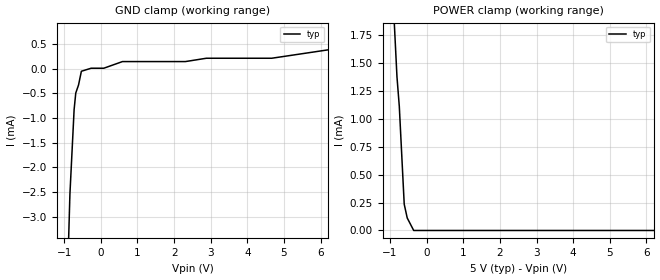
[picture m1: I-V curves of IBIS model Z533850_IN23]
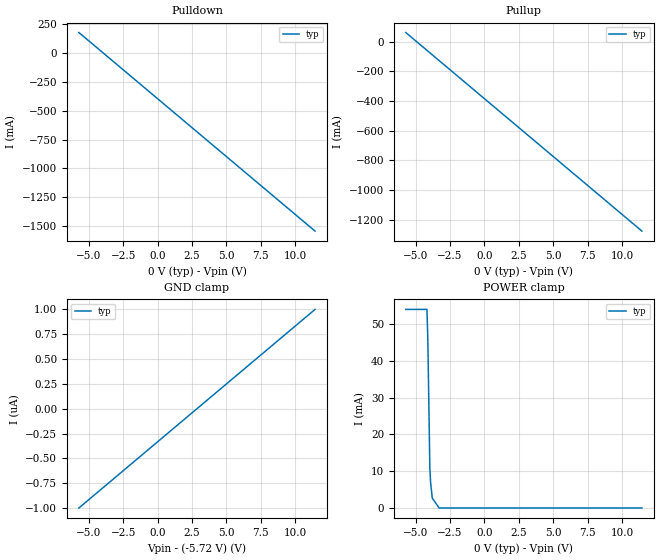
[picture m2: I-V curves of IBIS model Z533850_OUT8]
| YOU ARE ONLY AUTHORIZED TO USE THIS SOFTWARE
| ACCORDING TO LICENSOR'S LICENSE RESTRICTIONS.
[IBIS Ver] 3.1
[File Name] mc100e416fn_pecl.ibs
[File Rev] 2.0
[Source] Measured and created by ICX Technology
[Date] Friday 7/14/00 9:07:47 AM
[Copyright]
| (C) COPYRIGHT 1993-2000
| MENTOR GRAPHICS CORPORATION
| ICX STANDARD LIBRARY, ICX PROJECT MODELING,
| ICX CUSTOM MODELING, ICX VENDOR MODEL
| ALL RIGHTS RESERVED.
| THE FOLLOWING ARE TRADEMARKS OR SERVICE MARKS OF
| MENTOR GRAPHICS CORPORATION:ICX (R), ICX STANDARD
| LIBRARY(R), ICX PROJECT MODELING(R), ICX CUSTOM
| MODELING(R), qualityIBIS(TM), MODELVIEWER(TM),
| AND MODELEDITOR(TM)
| ALL COPIES OF SOFTWARE, INCLUDING BUT NOT LIMITED TO
| ANY MODIFICATIONS, ENHANCEMENTS OR DERIVATIVE WORKS,
| MUST CONTAIN ALL MENTOR GRAPHICS CORPORATION'S
| NOTICES AND LEGENDS, INCLUDING THOSE EMBEDDED IN
| SOFTWARE AND THOSE AFFIXED TO SOFTWARE MEDIUM
| AND CONTAINER, AS RECEIVED FROM MENTOR GRAPHICS
| CORPORATION.
|  ZAP Model Builder 2.7
[Component] MC100E416FN_PECL
[Manufacturer] OnSemiconductor
[Package]
| variable   typ   min   max
R_pkg  .083ohms NA NA
L_pkg  4.299nH NA NA
C_pkg  1.045pF NA NA
[Pin] signal_name  model_name  R_pin  L_pin C_pin
1 VEE GND .08 3.94n .925p
2 VBB POWER .082 4.14n .995p
3 D0 Z533850_IN23 .084 4.354n 1.065p
4 _D0 Z533850_IN23 .086 4.583n 1.135p
5 D1 Z533850_IN23 .086 4.583n 1.135p
6 _D1 Z533850_IN23 .084 4.354n 1.065p
7 VCCO POWER .082 4.14n .995p
8 Q0 Z533850_OUT8 .08 3.94n .925p
9 _Q0 Z533850_OUT8 .082 4.14n .995p
10 VCCO POWER .084 4.354n 1.065p
11 Q1 Z533850_OUT8 .086 4.583n 1.135p
12 _Q1 Z533850_OUT8 .086 4.583n 1.135p
13 VCCO POWER .084 4.354n 1.065p
14 Q2 Z533850_OUT8 .082 4.14n .995p
15 _Q2 Z533850_OUT8 .08 3.94n .925p
16 VCC POWER .082 4.14n .995p
17 Q3 Z533850_OUT8 .084 4.354n 1.065p
18 _Q3 Z533850_OUT8 .086 4.583n 1.135p
19 VCCO POWER .086 4.583n 1.135p
20 Q4 Z533850_IN23 .084 4.354n 1.065p
21 _Q4 Z533850_IN23 .082 4.14n .995p
22 VCCO POWER .08 3.94n .925p
23 D4 Z533850_IN23 .082 4.14n .995p
24 _D4 Z533850_IN23 .084 4.354n 1.065p
25 D3 Z533850_IN23 .086 4.583n 1.135p
26 _D3 Z533850_IN23 .086 4.583n 1.135p
27 D2 Z533850_IN23 .084 4.354n 1.065p
28 _D2 Z533850_IN23 .082 4.14n .995p
| Models and submodels in the file (2): Z533850_IN23 (Input_ECL), Z533850_OUT8 (Output_ECL)
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| (C) COPYRIGHT 1993-2000
| MENTOR GRAPHICS CORPORATION
| ICX STANDARD LIBRARY, ICX PROJECT MODELING,
| ICX CUSTOM MODELING, ICX VENDOR MODEL
| ALL RIGHTS RESERVED.
| THE FOLLOWING ARE TRADEMARKS OR SERVICE MARKS OF
| MENTOR GRAPHICS CORPORATION:ICX (R), ICX STANDARD
| LIBRARY(R), ICX PROJECT MODELING(R), ICX CUSTOM
| MODELING(R), qualityIBIS(TM), MODELVIEWER(TM),
| AND MODELEDITOR(TM)
| ALL COPIES OF SOFTWARE, INCLUDING BUT NOT LIMITED TO
| ANY MODIFICATIONS, ENHANCEMENTS OR DERIVATIVE WORKS,
| MUST CONTAIN ALL MENTOR GRAPHICS CORPORATION'S
| NOTICES AND LEGENDS, INCLUDING THOSE EMBEDDED IN
| SOFTWARE AND THOSE AFFIXED TO SOFTWARE MEDIUM
| AND CONTAINER, AS RECEIVED FROM MENTOR GRAPHICS
| CORPORATION.
| Model Application Version 1.89 2/18/99.
[Model] Z533850_IN23
Model_type Input_ECL
Vinl = 3.520V
Vinh = 3.830V
C_comp 4.000pF NA NA
| variable typ   min   max
[Voltage Range] 5.000V NA NA
[GND Clamp Reference] 0.000V NA NA
[POWER Clamp Reference] 5.000V NA NA
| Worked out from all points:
|   GND clamp passes 1 mA (typ) near -0.74 V on its own axis
|   POWER clamp passes 1 mA (typ) near -0.73 V on its own axis
[GND Clamp]
-5V       -201.2mA   NA         NA
-1.001V   -6.569mA   NA         NA
-844.7mV  -2.544mA   NA         NA
-730.1mV  -831.7uA   NA         NA
-684.9mV  -495.8uA   NA         NA
-609.6mV  -333.8uA   NA         NA
-531.8mV  -55.24uA   NA         NA
-265.9mV  5.988uA    NA         NA
80.1mV    5.988uA    NA         NA
589.9mV   140.6uA    NA         NA
4.666V    208.1uA    NA         NA
10V       797.5uA    NA         NA
[POWER Clamp]
-5V       18.97mA    NA         NA
-1.464V   6.276mA    NA         NA
-1.426V   5.802mA    NA         NA
-1.323V   5.099mA    NA         NA
-1.207V   4.136mA    NA         NA
-1.009V   2.68mA     NA         NA
-811mV    1.375mA    NA         NA
-747mV    1.109mA    NA         NA
-613mV    235uA      NA         NA
-531mV    112uA      NA         NA
-354mV    0A         NA         NA
10V       0A         NA         NA
| (C) COPYRIGHT 1993-2000
| MENTOR GRAPHICS CORPORATION
| ICX STANDARD LIBRARY, ICX PROJECT MODELING,
| ICX CUSTOM MODELING, ICX VENDOR MODEL
| ALL RIGHTS RESERVED.
| THE FOLLOWING ARE TRADEMARKS OR SERVICE MARKS OF
| MENTOR GRAPHICS CORPORATION:ICX (R), ICX STANDARD
| LIBRARY(R), ICX PROJECT MODELING(R), ICX CUSTOM
| MODELING(R), qualityIBIS(TM), MODELVIEWER(TM),
| AND MODELEDITOR(TM)
| ALL COPIES OF SOFTWARE, INCLUDING BUT NOT LIMITED TO
| ANY MODIFICATIONS, ENHANCEMENTS OR DERIVATIVE WORKS,
| MUST CONTAIN ALL MENTOR GRAPHICS CORPORATION'S
| NOTICES AND LEGENDS, INCLUDING THOSE EMBEDDED IN
| SOFTWARE AND THOSE AFFIXED TO SOFTWARE MEDIUM
| AND CONTAINER, AS RECEIVED FROM MENTOR GRAPHICS
| CORPORATION.
| Model Application Version 1.89 2/18/99.
[Model] Z533850_OUT8
Model_type Output_ECL
Vref=0.000V
Rref=500.0Mohms
Cref=50.00pF
Vmeas=3.620V
C_comp 8.000pF NA NA
| variable typ   min   max
[Voltage Range] -5.720V NA NA
[POWER Clamp Reference] 0.000V NA NA
[Pullup Reference] 0.000V NA NA
[Pulldown Reference] 0.000V NA NA
[GND Clamp Reference] -5.720V NA NA
[GND Clamp]
-5.72V    -1uA       NA         NA
11.44V    1uA        NA         NA
[Pulldown]
-5.72V    176.4mA    NA         NA
11.44V    -1.543A    NA         NA
[Pullup]
-5.72V    61.35mA    NA         NA
11.44V    -1.276A    NA         NA
[POWER Clamp]
-5.72V    54.01mA    NA         NA
-4.18V    54.01mA    NA         NA
-4.114V   45.44mA    NA         NA
-3.969V   10.78mA    NA         NA
-3.915V   6.885mA    NA         NA
-3.793V   2.693mA    NA         NA
-3.296V   0A         NA         NA
11.44V    0A         NA         NA
[Ramp]
| variable typ min max
dV/dt_r 550.2m/183.5p NA NA
dV/dt_f 550.2m/116.0p NA NA
R_load = 500.0Ohms
